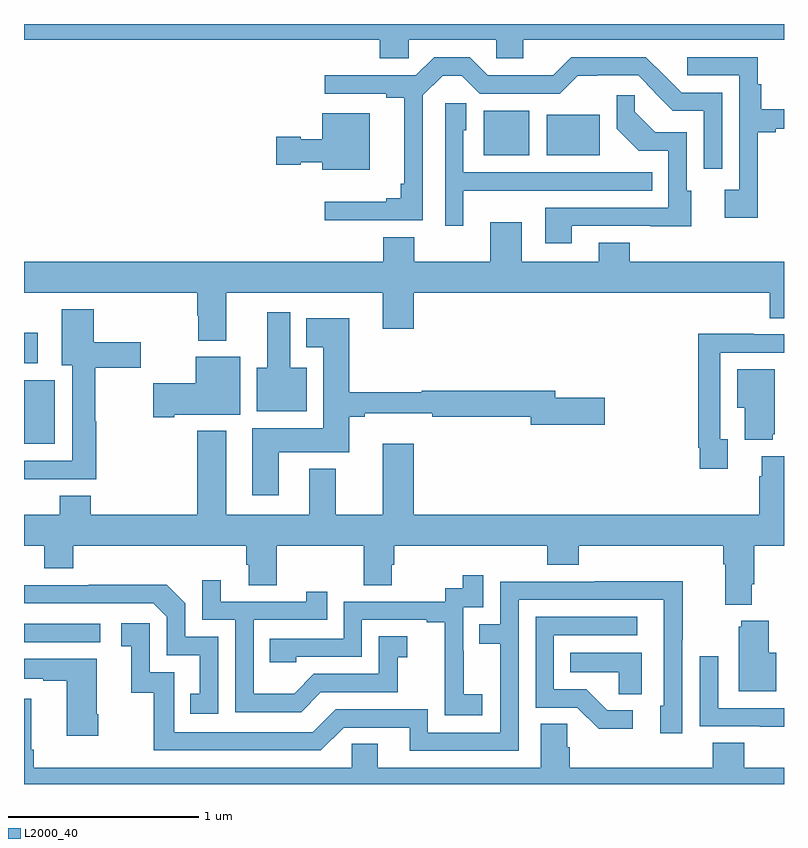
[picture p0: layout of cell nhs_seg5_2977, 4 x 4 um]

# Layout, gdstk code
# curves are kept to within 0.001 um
import gdstk
lib = gdstk.Library(unit=1e-6, precision=1e-09)
def R(c, l, rs):  # rectangles x0, y0, x1, y1
    for r in rs: c.add(gdstk.rectangle(r[:2], r[2:], *l))
def P(c, l, *ps):  # polygons
    for p in ps: c.add(gdstk.Polygon(p, *l))
L2000_40 = (2000, 40)

nhs_seg5_2977 = lib.new_cell('nhs_seg5_2977')
R(nhs_seg5_2977, L2000_40, [(283,897.546,283.402,897.642), (283,898.589,283.162,898.924), (283,899.013,283.072,899.173), (285.419,900.107,285.658,900.343), (285.752,900.107,286.03,900.322)])
P(nhs_seg5_2977, L2000_40, [(285.024,900.716),(285.486,900.716),(285.486,900.618),(285.628,900.618),(285.628,900.716),(287,900.716),(287,900.799),(283,900.799),(283,900.716),(284.873,900.716),(284.873,900.618),(285.024,900.618)],
  [(286.861,900.229),(286.957,900.229),(286.957,900.249),(287,900.249),(287,900.35),(286.88,900.35),(286.88,900.482),(286.862,900.482),(286.862,900.624),(286.491,900.624),(286.491,900.528),(286.764,900.528),(286.764,899.926),(286.689,899.926),(286.689,899.778),(286.861,899.778)],
  [(284.795,899.766),(285.099,899.766),(285.099,900.423),(285.203,900.527),(285.304,900.527),(285.399,900.432),(285.819,900.432),(285.914,900.527),(286.233,900.528),(286.323,900.438),(286.321,900.436),(286.415,900.342),(286.578,900.342),(286.578,900.036),(286.674,900.036),(286.674,900.438),(286.461,900.438),(286.273,900.624),(285.879,900.624),(285.785,900.53),(285.68,900.53),(285.68,900.528),(285.441,900.528),(285.345,900.624),(285.158,900.624),(285.062,900.528),(284.829,900.528),(284.829,900.53),(284.583,900.53),(284.583,900.432),(284.906,900.432),(284.906,900.412),(285.002,900.412),(285.002,899.959),(284.983,899.959),(284.983,899.882),(284.906,899.882),(284.906,899.863),(284.583,899.863),(284.583,899.765)],
  [(285.883,899.736),(286.513,899.735),(286.513,899.922),(286.488,899.922),(286.488,900.228),(286.322,900.228),(286.214,900.336),(286.214,900.424),(286.119,900.424),(286.119,900.248),(286.235,900.132),(286.392,900.132),(286.392,899.832),(285.743,899.832),(285.743,899.646),(285.883,899.646)],
  [(285.313,899.921),(285.647,899.921),(285.647,899.922),(286.307,899.922),(286.307,900.018),(285.312,900.018),(285.312,900.24),(285.328,900.24),(285.328,900.383),(285.216,900.383),(285.216,899.736),(285.313,899.736)],
  [(284.821,900.328),(284.57,900.328),(284.57,900.193),(284.457,900.193),(284.457,900.206),(284.328,900.206),(284.328,900.059),(284.457,900.059),(284.457,900.071),(284.57,900.071),(284.57,900.032),(284.821,900.032)],
  [(284.065,899.384),(284.888,899.384),(284.888,899.196),(285.052,899.196),(285.052,899.384),(286.925,899.384),(286.925,899.251),(287,899.251),(287,899.548),(286.189,899.548),(286.189,899.647),(286.025,899.647),(286.025,899.548),(285.619,899.548),(285.619,899.755),(285.455,899.755),(285.455,899.548),(285.055,899.548),(285.055,899.677),(284.891,899.677),(284.891,899.548),(283,899.548),(283,899.384),(283.913,899.384),(283.913,899.264),(283.918,899.264),(283.918,899.132),(284.065,899.132)],
  [(283.379,898.707),(283.374,898.707),(283.374,898.991),(283.615,898.991),(283.615,899.125),(283.366,899.125),(283.366,899.299),(283.199,899.299),(283.199,899.003),(283.253,899.003),(283.253,898.5),(283,898.5),(283,898.403),(283.379,898.403)],
  [(284.488,898.99),(284.401,898.99),(284.401,899.281),(284.279,899.281),(284.279,898.99),(284.225,898.99),(284.225,898.76),(284.488,898.76)],
  [(284.341,898.544),(284.711,898.544),(284.711,898.732),(284.794,898.732),(284.794,898.751),(285.148,898.751),(285.148,898.732),(285.668,898.732),(285.668,898.69),(286.057,898.69),(286.057,898.832),(285.796,898.832),(285.796,898.868),(285.094,898.868),(285.094,898.861),(284.711,898.861),(284.711,899.251),(284.486,899.251),(284.486,899.099),(284.576,899.099),(284.576,898.672),(284.201,898.672),(284.201,898.32),(284.341,898.32)],
  [(286.705,898.614),(286.665,898.614),(286.665,899.07),(287,899.07),(287,899.166),(286.841,899.166),(286.841,899.168),(286.549,899.168),(286.549,898.57),(286.557,898.57),(286.557,898.458),(286.705,898.458)],
  [(283.792,898.742),(284.137,898.742),(284.137,899.047),(283.904,899.047),(283.904,898.908),(283.68,898.908),(283.68,898.73),(283.792,898.73)],
  [(286.94,898.641),(286.951,898.641),(286.951,898.981),(286.754,898.981),(286.754,898.778),(286.793,898.778),(286.793,898.61),(286.94,898.61)],
  [(283.187,898.216),(283,898.216),(283,898.052),(283.106,898.052),(283.106,897.935),(283.259,897.935),(283.259,898.052),(284.171,898.052),(284.171,897.954),(284.183,897.954),(284.183,897.844),(284.331,897.844),(284.331,898.052),(284.788,898.052),(284.788,897.844),(284.935,897.844),(284.935,897.954),(284.948,897.954),(284.948,898.052),(285.755,898.052),(285.755,897.953),(285.92,897.953),(285.92,898.052),(286.679,898.052),(286.679,897.956),(286.691,897.956),(286.691,897.743),(286.831,897.743),(286.831,897.85),(286.844,897.85),(286.844,898.052),(287,898.052),(287,898.525),(286.883,898.525),(286.883,898.418),(286.871,898.418),(286.871,898.216),(285.052,898.216),(285.052,898.591),(284.888,898.591),(284.888,898.216),(284.641,898.216),(284.641,898.459),(284.501,898.459),(284.501,898.216),(284.065,898.216),(284.065,898.657),(283.913,898.657),(283.913,898.216),(283.352,898.216),(283.352,898.315),(283.187,898.315)],
  [(285.412,897.271),(285.314,897.271),(285.314,897.5),(285.312,897.5),(285.312,897.729),(285.417,897.729),(285.417,897.898),(285.309,897.898),(285.309,897.828),(285.216,897.828),(285.216,897.759),(284.682,897.759),(284.682,897.564),(284.293,897.564),(284.293,897.441),(284.433,897.441),(284.433,897.468),(284.778,897.468),(284.778,897.663),(285.119,897.663),(285.119,897.651),(285.215,897.651),(285.215,897.367),(285.214,897.367),(285.214,897.161),(285.412,897.161)],
  [(284.563,897.282),(284.967,897.282),(284.967,897.467),(285.016,897.467),(285.016,897.577),(284.868,897.577),(284.868,897.378),(284.526,897.378),(284.422,897.274),(284.208,897.274),(284.208,897.663),(284.597,897.663),(284.597,897.811),(284.486,897.811),(284.486,897.759),(284.035,897.759),(284.035,897.871),(283.938,897.871),(283.938,897.663),(284.112,897.663),(284.112,897.177),(284.458,897.177)],
  [(285.603,897.768),(286.368,897.768),(286.368,897.21),(286.349,897.21),(286.349,897.066),(286.464,897.066),(286.464,897.559),(286.467,897.559),(286.467,897.866),(286.003,897.866),(286.003,897.864),(285.507,897.864),(285.507,897.639),(285.397,897.639),(285.397,897.538),(285.507,897.538),(285.507,897.069),(285.126,897.069),(285.126,897.192),(284.64,897.192),(284.52,897.072),(283.791,897.072),(283.791,897.387),(283.662,897.387),(283.662,897.646),(283.512,897.646),(283.512,897.525),(283.565,897.525),(283.565,897.279),(283.683,897.279),(283.683,896.976),(284.562,896.976),(284.682,897.096),(285.029,897.096),(285.029,896.973),(285.603,896.973)],
  [(284.022,897.573),(283.848,897.573),(283.848,897.75),(283.75,897.848),(283.342,897.848),(283.342,897.846),(283,897.846),(283,897.75),(283.68,897.75),(283.752,897.678),(283.752,897.477),(283.925,897.477),(283.925,897.273),(283.876,897.273),(283.876,897.168),(284.022,897.168)],
  [(286.204,897.186),(286.069,897.186),(285.958,897.297),(285.789,897.297),(285.789,897.582),(286.228,897.582),(286.228,897.678),(285.693,897.678),(285.693,897.201),(285.912,897.201),(286.025,897.089),(286.204,897.089)],
  [(286.96,897.49),(286.921,897.49),(286.921,897.658),(286.775,897.658),(286.775,897.627),(286.763,897.627),(286.763,897.287),(286.96,897.287)],
  [(286.252,897.49),(285.874,897.49),(285.874,897.386),(286.131,897.386),(286.131,897.271),(286.252,897.271)],
  [(287,897.198),(286.653,897.198),(286.653,897.472),(286.557,897.472),(286.557,897.102),(286.873,897.102),(286.873,897.101),(287,897.101)],
  [(283.392,897.166),(283.384,897.166),(283.384,897.457),(283,897.457),(283,897.353),(283.1,897.353),(283.1,897.343),(283.226,897.343),(283.226,897.054),(283.392,897.054)],
  [(287,896.884),(286.79,896.884),(286.79,897.017),(286.625,897.017),(286.625,896.884),(285.872,896.884),(285.872,896.993),(285.858,896.993),(285.858,897.116),(285.719,897.116),(285.719,896.884),(284.863,896.884),(284.863,897.011),(284.724,897.011),(284.724,896.884),(283.052,896.884),(283.052,896.98),(283.039,896.98),(283.039,897.247),(283,897.247),(283,896.799),(287,896.799)])

lib.write_gds('nhs_seg5_2977.gds')
